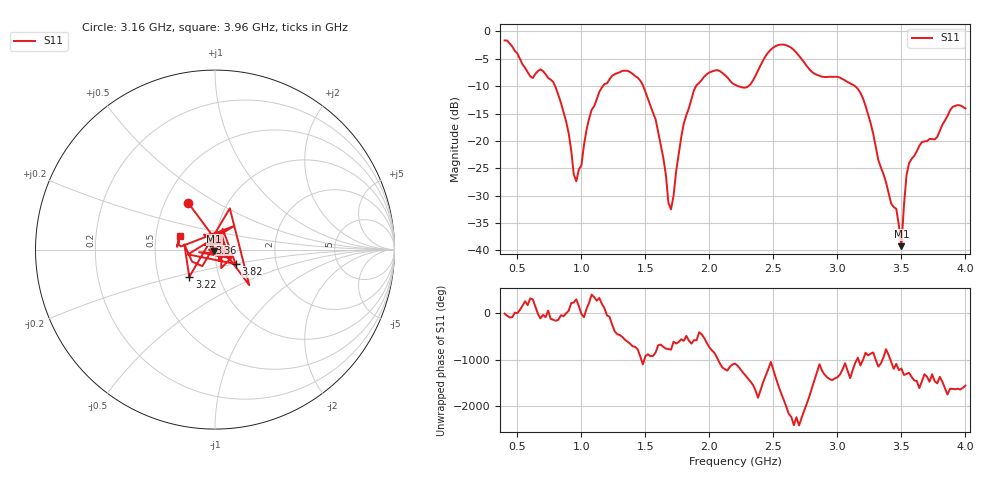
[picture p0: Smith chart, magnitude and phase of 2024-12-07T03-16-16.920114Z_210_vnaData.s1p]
!Created with skrf (http://scikit-rf.org).
# Hz S RI R 50.0
!freq ReS11 ImS11
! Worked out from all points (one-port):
!   181 points, 400 MHz to 4 GHz, reference 50 ohm
!   lowest |S11| = -39.2 dB at 3.5 GHz (marker M1), VSWR 1.02, Z = 49.5 - j0.982 ohm
!   |S11| at or under -10 dB: 794.4 MHz to 1.168 GHz (373.7 MHz wide, 38.1 % of centre); 1.483 GHz to 1.896 GHz (412.6 MHz wide, 24.4 % of centre); 3.138 GHz to end of sweep (the widest 3 of 4)
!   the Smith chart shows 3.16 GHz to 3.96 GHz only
!   S11 on the Smith chart (normalised r, x): 3.16 GHz: 0.66, +0.37; 3.22 GHz: 0.72, -0.23; 3.36 GHz: 0.94, +0.07; 3.82 GHz: 1.24, -0.20; 3.96 GHz: 0.67, +0.11
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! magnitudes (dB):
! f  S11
! 400 MHz  -1.6
! 600 MHz  -8.2
! 780 MHz  -9.3
! 860 MHz  -14.7
! 960 MHz  -27.4
! 1.08 GHz  -14.3
! 1.3 GHz  -7.5
! 1.5 GHz  -11.0
! 1.58 GHz  -16.1
! 1.7 GHz  -32.5
! 1.76 GHz  -22.4
! 1.9 GHz  -9.8
! 2.06 GHz  -7.1
! 2.2 GHz  -9.7
! 2.32 GHz  -9.7
! 2.52 GHz  -2.6
! 2.66 GHz  -3.4
! 3.1 GHz  -9.5
! 3.16 GHz  -10.5
! 3.22 GHz  -13.6
! 3.36 GHz  -26.1
! 3.46 GHz  -32.4
! 3.5 GHz  -39.2
! 3.54 GHz  -26.3
! 3.56 GHz  -24.0
! 3.82 GHz  -17.1
! 3.96 GHz  -13.5
! 4 GHz  -14.1
